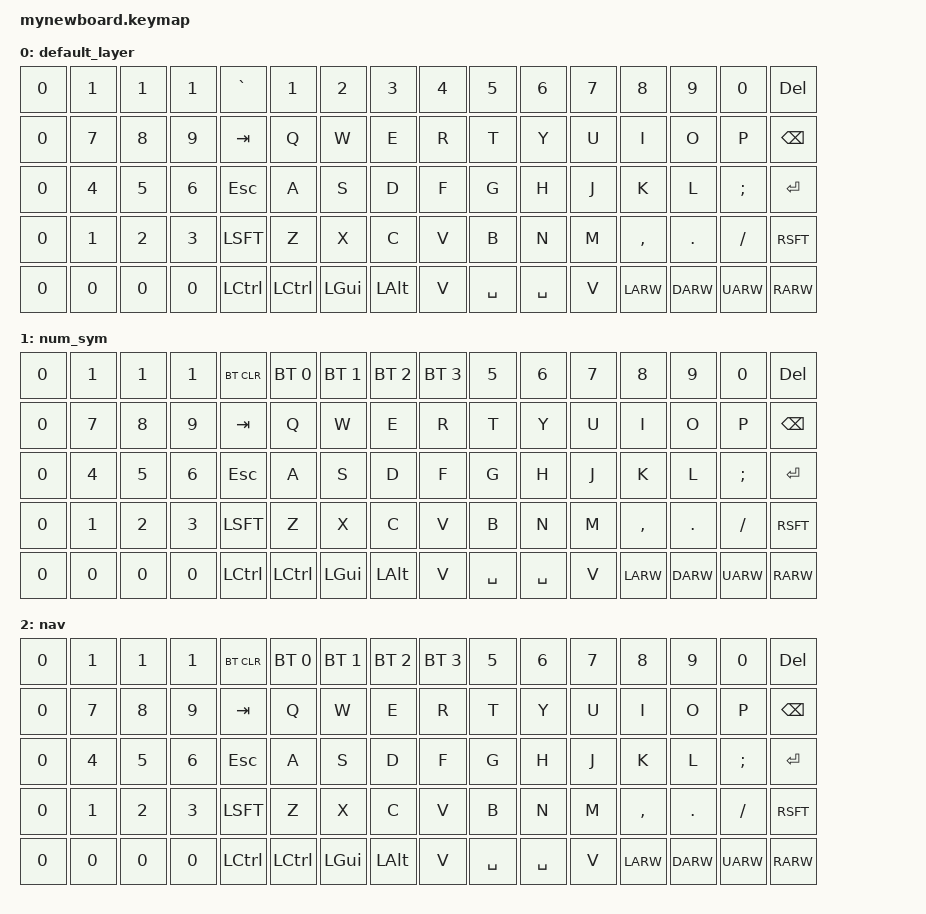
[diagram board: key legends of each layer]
/*
 * Copyright (c) 2020 The ZMK Contributors
 *
 * SPDX-License-Identifier: MIT
 */

#include <behaviors.dtsi>
#include <dt-bindings/zmk/keys.h>
#include <dt-bindings/zmk/bt.h>

#define DEFAULT 0
#define LOWER   1
#define RAISE   2

// / {
//     behaviors {
//         hm: homerow_mods {
//             compatible = "zmk,behavior-hold-tap";
//             label = "homerow mods";
//             #binding-cells = <2>;
//             tapping_term_ms = <225>;
//             flavor = "tap-preferred";
//             bindings = <&kp>, <&kp>;
//         };
//     };
// };

/ {
    keymap {
        compatible = "zmk,keymap";

        default_layer {
            bindings = <
                &kp 0   &kp NUM_1   &kp NUM_1   &kp NUM_1   &kp GRAV   &kp 1       &kp 2       &kp 3       &kp 4   &kp 5   &kp 6       &kp 7       &kp 8       &kp 9       &kp 0       &kp DEL
                &kp 0   &kp NUM_7   &kp NUM_8   &kp NUM_9   &kp TAB    &kp Q       &kp W       &kp E       &kp R   &kp T   &kp Y       &kp U       &kp I       &kp O       &kp P       &kp BKSP
                &kp 0   &kp NUM_4   &kp NUM_5   &kp NUM_6   &kp ESC    &kp A       &kp S       &kp D       &kp F   &kp G   &kp H       &kp J       &kp K       &kp L       &kp SCLN    &kp RET
                &kp 0   &kp NUM_1   &kp NUM_2   &kp NUM_3   &kp LSFT   &kp Z       &kp X       &kp C       &kp V   &kp B   &kp N       &kp M       &kp CMMA    &kp DOT      &kp FSLH    &kp RSFT
                &kp 0   &kp 0       &kp 0       &kp 0       &kp LCTL   &kp LCTL    &kp LGUI    &kp LALT    &kp V   &kp SPC &kp SPC     &kp V       &kp LARW    &kp DARW    &kp UARW    &kp RARW   
            >;
        };
        num_sym {
            bindings = <
                &kp 0   &kp NUM_1   &kp NUM_1   &kp NUM_1   &bt BT_CLR   &bt BT_SEL 0       &bt BT_SEL 1       &bt BT_SEL 2       &bt BT_SEL 3   &kp 5   &kp 6       &kp 7       &kp 8       &kp 9       &kp 0       &kp DEL
                &kp 0   &kp NUM_7   &kp NUM_8   &kp NUM_9   &kp TAB    &kp Q       &kp W       &kp E       &kp R   &kp T   &kp Y       &kp U       &kp I       &kp O       &kp P       &kp BKSP
                &kp 0   &kp NUM_4   &kp NUM_5   &kp NUM_6   &kp ESC    &kp A       &kp S       &kp D       &kp F   &kp G   &kp H       &kp J       &kp K       &kp L       &kp SCLN    &kp RET
                &kp 0   &kp NUM_1   &kp NUM_2   &kp NUM_3   &kp LSFT   &kp Z       &kp X       &kp C       &kp V   &kp B   &kp N       &kp M       &kp CMMA    &kp DOT      &kp FSLH    &kp RSFT
                &kp 0   &kp 0       &kp 0       &kp 0       &kp LCTL   &kp LCTL    &kp LGUI    &kp LALT    &kp V   &kp SPC &kp SPC     &kp V       &kp LARW    &kp DARW    &kp UARW    &kp RARW
            >;
        };
        nav {
            bindings = <
                &kp 0   &kp NUM_1   &kp NUM_1   &kp NUM_1   &bt BT_CLR   &bt BT_SEL 0       &bt BT_SEL 1       &bt BT_SEL 2       &bt BT_SEL 3   &kp 5   &kp 6       &kp 7       &kp 8       &kp 9       &kp 0       &kp DEL
                &kp 0   &kp NUM_7   &kp NUM_8   &kp NUM_9   &kp TAB    &kp Q       &kp W       &kp E       &kp R   &kp T   &kp Y       &kp U       &kp I       &kp O       &kp P       &kp BKSP
                &kp 0   &kp NUM_4   &kp NUM_5   &kp NUM_6   &kp ESC    &kp A       &kp S       &kp D       &kp F   &kp G   &kp H       &kp J       &kp K       &kp L       &kp SCLN    &kp RET
                &kp 0   &kp NUM_1   &kp NUM_2   &kp NUM_3   &kp LSFT   &kp Z       &kp X       &kp C       &kp V   &kp B   &kp N       &kp M       &kp CMMA    &kp DOT      &kp FSLH    &kp RSFT
                &kp 0   &kp 0       &kp 0       &kp 0       &kp LCTL   &kp LCTL    &kp LGUI    &kp LALT    &kp V   &kp SPC &kp SPC     &kp V       &kp LARW    &kp DARW    &kp UARW    &kp RARW
            >;
        };
    };
};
